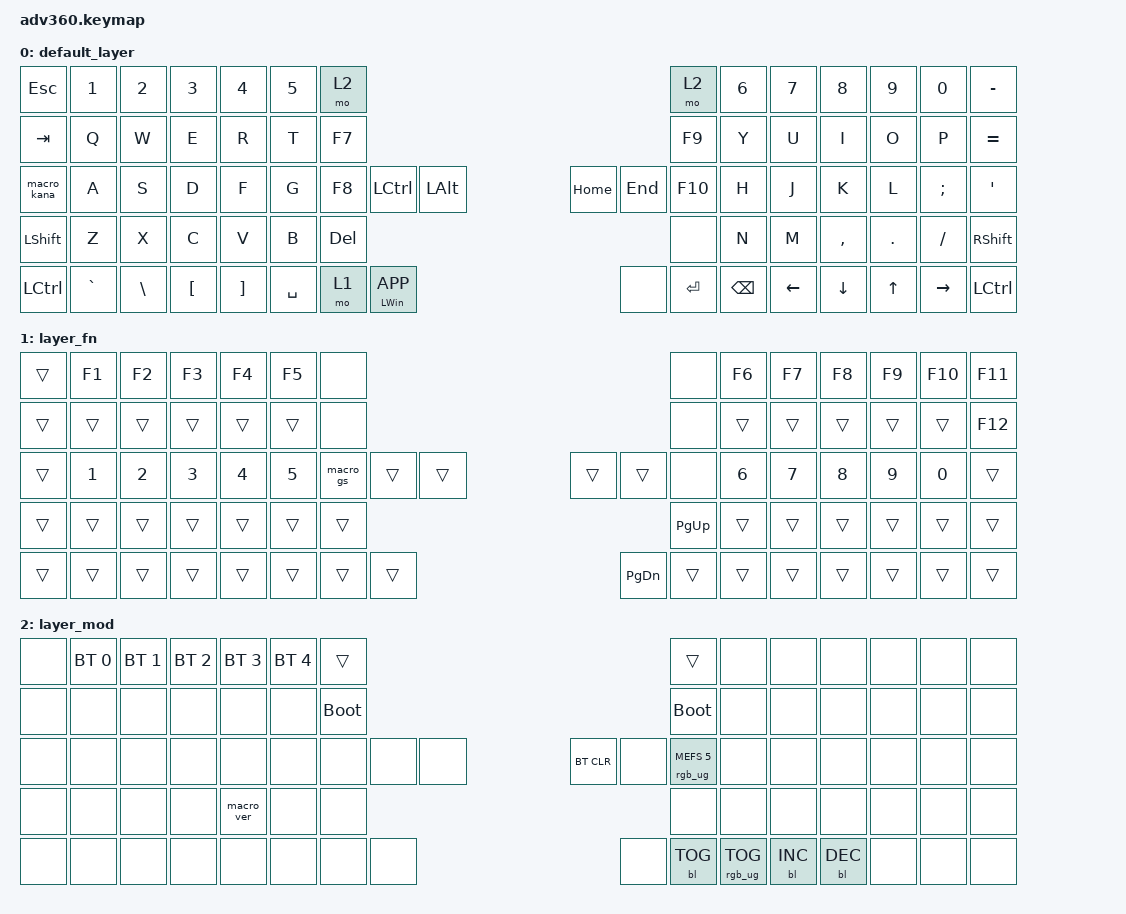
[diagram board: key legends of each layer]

/*
 * Copyright (c) 2020 The ZMK Contributors
 *
 * SPDX-License-Identifier: MIT
 */


/* THIS FILE WAS GENERATED!
 *
 * This file was generated automatically. You may or may not want to
 * edit it directly.
 */

#include <behaviors.dtsi>
#include <dt-bindings/zmk/keys.h>
#include <dt-bindings/zmk/bt.h>
#include <dt-bindings/zmk/rgb.h>
#include <dt-bindings/zmk/backlight.h>

/ {
  behaviors {
    #include "macros.dtsi"
    #include "version.dtsi"

    hm: homerow_mods {
        compatible = "zmk,behavior-hold-tap";
        label = "HOMEROW_MODS";
        #binding-cells = <2>;
        tapping-term-ms = <200>;
        quick_tap_ms = <175>;
        flavor = "tap-preferred";
        bindings = <&kp>, <&kp>;
    };
  };

    keymap {
        compatible = "zmk,keymap";


        default_layer {
            bindings = <
     &kp ESC     &kp N1    &kp N2    &kp N3    &kp N4  &kp N5                &mo 2                                                                              &mo 2  &kp N6    &kp N7     &kp N8   &kp N9     &kp N0  &kp MINUS
     &kp TAB      &kp Q     &kp W     &kp E     &kp R   &kp T               &kp F7                                                                             &kp F9   &kp Y     &kp U      &kp I    &kp O      &kp P  &kp EQUAL
 &macro_kana      &kp A     &kp S     &kp D     &kp F   &kp G               &kp F8  &kp LCTRL            &kp LALT                  &kp HOME    &kp END        &kp F10   &kp H     &kp J      &kp K    &kp L   &kp SEMI    &kp SQT
   &kp LSHFT      &kp Z     &kp X     &kp C     &kp V   &kp B                                             &kp DEL                     &none                             &kp N     &kp M  &kp COMMA  &kp DOT   &kp FSLH  &kp RSHFT
   &kp LCTRL  &kp GRAVE  &kp BSLH  &kp LBKT  &kp RBKT                    &kp SPACE      &mo 1  &mt LEFT_WIN K_APP                     &none  &kp ENTER  &kp BACKSPACE          &kp LEFT   &kp DOWN   &kp UP  &kp RIGHT  &kp LCTRL
            >;
        };

        layer_fn {
            bindings = <
 &trans  &kp F1  &kp F2  &kp F3  &kp F4  &kp F5                &none                                                        &none  &kp F6  &kp F7  &kp F8  &kp F9  &kp F10  &kp F11
 &trans  &trans  &trans  &trans  &trans  &trans                &none                                                        &none  &trans  &trans  &trans  &trans   &trans  &kp F12
 &trans  &kp N1  &kp N2  &kp N3  &kp N4  &kp N5            &macro_gs  &trans  &trans                       &trans  &trans   &none  &kp N6  &kp N7  &kp N8  &kp N9   &kp N0   &trans
 &trans  &trans  &trans  &trans  &trans  &trans                               &trans                  &kp PAGE_UP                  &trans  &trans  &trans  &trans   &trans   &trans
 &trans  &trans  &trans  &trans  &trans                       &trans  &trans  &trans                    &kp PG_DN  &trans  &trans          &trans  &trans  &trans   &trans   &trans
            >;
        };

        layer_mod {
            bindings = <
  &none  &bt BT_SEL 0  &bt BT_SEL 1  &bt BT_SEL 2  &bt BT_SEL 3  &bt BT_SEL 4                 &trans                                                                          &trans   &none       &none       &none   &none   &none   &none
  &none         &none         &none         &none         &none         &none            &bootloader                                                                     &bootloader   &none       &none       &none   &none   &none   &none
  &none         &none         &none         &none         &none         &none                  &none   &none   &none                  &bt BT_CLR       &none  &rgb_ug RGB_MEFS_CMD 5   &none       &none       &none   &none   &none   &none
  &none         &none         &none         &none    &macro_ver         &none                                  &none                       &none                                       &none       &none       &none   &none   &none   &none
  &none         &none         &none         &none         &none                                &none   &none   &none                       &none  &bl BL_TOG         &rgb_ug RGB_TOG          &bl BL_INC  &bl BL_DEC   &none   &none   &none
            >;
        };

    };
};
